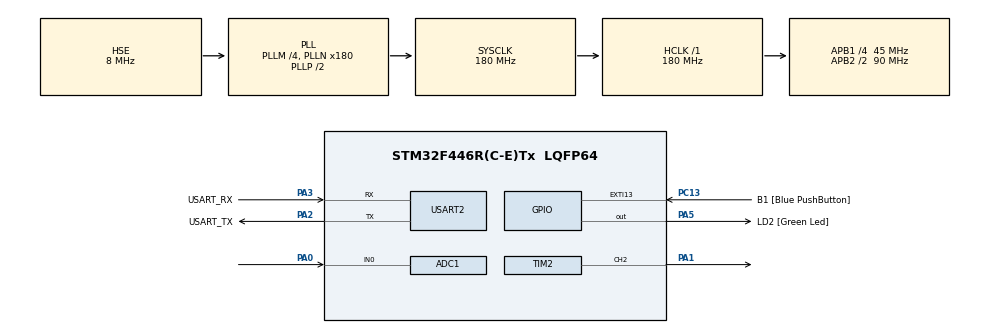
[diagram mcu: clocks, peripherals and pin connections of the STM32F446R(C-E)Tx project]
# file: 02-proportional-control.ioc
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ADC1.Channel-0\#ChannelRegularConversion=ADC_CHANNEL_0
ADC1.ClockPrescaler=ADC_CLOCK_SYNC_PCLK_DIV8
ADC1.ContinuousConvMode=ENABLE
ADC1.NbrOfConversionFlag=1
ADC1.Rank-0\#ChannelRegularConversion=1
ADC1.SamplingTime-0\#ChannelRegularConversion=ADC_SAMPLETIME_3CYCLES
ADC1.master=1
Dma.Request0=USART2_TX
Dma.USART2_TX.0.Direction=DMA_MEMORY_TO_PERIPH
Dma.USART2_TX.0.FIFOMode=DMA_FIFOMODE_DISABLE
Dma.USART2_TX.0.Instance=DMA1_Stream6
Dma.USART2_TX.0.MemDataAlignment=DMA_MDATAALIGN_BYTE
Dma.USART2_TX.0.MemInc=DMA_MINC_ENABLE
Dma.USART2_TX.0.Mode=DMA_NORMAL
Dma.USART2_TX.0.PeriphDataAlignment=DMA_PDATAALIGN_BYTE
Dma.USART2_TX.0.PeriphInc=DMA_PINC_DISABLE
Dma.USART2_TX.0.Priority=DMA_PRIORITY_LOW
Mcu.Family=STM32F4
Mcu.Name=STM32F446R(C-E)Tx
Mcu.Package=LQFP64
NVIC.DMA1_Stream6_IRQn=true\:0\:0\:false\:false\:true\:false\:true\:true
NVIC.PriorityGroup=NVIC_PRIORITYGROUP_0
NVIC.USART2_IRQn=true\:0\:0\:false\:false\:true\:true\:true\:true
PA0-WKUP.Signal=ADCx_IN0
PA1.Signal=S_TIM2_CH2
PA13.GPIO_Label=TMS
PA13.Mode=Serial_Wire
PA13.Signal=SYS_JTMS-SWDIO
PA14.GPIO_Label=TCK
PA14.Mode=Serial_Wire
PA14.Signal=SYS_JTCK-SWCLK
PA2.GPIO_Label=USART_TX
PA2.Mode=Asynchronous
PA2.Signal=USART2_TX
PA3.GPIO_Label=USART_RX
PA3.Mode=Asynchronous
PA3.Signal=USART2_RX
PA5.GPIO_Label=LD2 [Green Led]
PA5.Signal=GPIO_Output
PB3.GPIO_Label=SWO
PB3.Signal=SYS_JTDO-SWO
PC13.GPIO_Label=B1 [Blue PushButton]
PC13.GPIO_ModeDefaultEXTI=GPIO_MODE_IT_FALLING
PC13.Signal=GPXTI13
PC14-OSC32_IN.Signal=RCC_OSC32_IN
PC15-OSC32_OUT.Signal=RCC_OSC32_OUT
PH0-OSC_IN.Mode=HSE-External-Oscillator
PH0-OSC_IN.Signal=RCC_OSC_IN
PH1-OSC_OUT.Mode=HSE-External-Oscillator
PH1-OSC_OUT.Signal=RCC_OSC_OUT
ProjectManager.HeapSize=0x200
ProjectManager.StackSize=0x400
ProjectManager.TargetToolchain=CMake
RCC.AHBFreq_Value=180000000
RCC.APB1CLKDivider=RCC_HCLK_DIV4
RCC.APB1Freq_Value=45000000
RCC.APB1TimFreq_Value=90000000
RCC.APB2CLKDivider=RCC_HCLK_DIV2
RCC.APB2Freq_Value=90000000
RCC.APB2TimFreq_Value=180000000
RCC.CortexFreq_Value=180000000
RCC.FLatency-AdvancedSettings=FLASH_LATENCY_5
RCC.HCLKFreq_Value=180000000
RCC.HSE_VALUE=8000000
RCC.HSI_VALUE=16000000
RCC.LSE_VALUE=32768
RCC.PLLM=4
RCC.PLLN=180
RCC.PLLSourceVirtual=RCC_PLLSOURCE_HSE
RCC.SYSCLKFreq_VALUE=180000000
RCC.SYSCLKSource=RCC_SYSCLKSOURCE_PLLCLK
RCC.USBFreq_Value=180000000
RCC.VCOOutputFreq_Value=360000000
SH.ADCx_IN0.0=ADC1_IN0,IN0
SH.S_TIM2_CH2.0=TIM2_CH2,PWM Generation2 CH2
TIM2.Channel-PWM\ Generation2\ CH2=TIM_CHANNEL_2
TIM2.Period=100-1
TIM2.Prescaler=90-1
TIM2.Pulse-PWM\ Generation2\ CH2=50
USART2.VirtualMode=VM_ASYNC
board=NUCLEO-F446RE

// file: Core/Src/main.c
/* USER CODE BEGIN Header */
/**
  ******************************************************************************
  * @file           : main.c
  * @brief          : Main program body
  ******************************************************************************
  * @attention
  *
  * Copyright (c) 2025 STMicroelectronics.
  * All rights reserved.
  *
  * This software is licensed under terms that can be found in the LICENSE file
  * in the root directory of this software component.
  * If no LICENSE file comes with this software, it is provided AS-IS.
  *
  ******************************************************************************
  */
/* USER CODE END Header */
#include "main.h"

/* USER CODE BEGIN Includes */
#include "photocell.h"
#include "led_pwm.h"
#include "logger.h"
#include "pid.h"

/* USER CODE END Includes */

ADC_HandleTypeDef hadc1;

TIM_HandleTypeDef htim2;

UART_HandleTypeDef huart2;
DMA_HandleTypeDef hdma_usart2_tx;

volatile bool tick_1ms = false;

void SystemClock_Config(void);
static void MX_GPIO_Init(void);
static void MX_DMA_Init(void);
static void MX_ADC1_Init(void);
static void MX_TIM2_Init(void);
static void MX_USART2_UART_Init(void);

/* USER CODE BEGIN 0 */

photoCell_t photocell;

LedPwm_t led_pwm = {
    .htim = &htim2,
    .channel = TIM_CHANNEL_2,
    .duty_percent = 0
};

pid_t led_ctrl = PID_DEFAULTS;

void app_init(void)
{
    pid_init(&led_ctrl, 1.2f, 60.0f, 0.0f, 100.0f);

    Log_Init();
    Log_SetLevel(LOG_LEVEL_DEBUG);
    Log(LOG_LEVEL_INFO, "System initialized.\n");

    photoCell_init(&photocell, DEFAULT_SCALING, DEFAULT_MIN_READ, DEFAULT_MAX_READ);

    LedPwm_init(&led_pwm, &htim2, TIM_CHANNEL_2);
    LedPwm_start(&led_pwm);
}

/* USER CODE END 0 */

int main(void)
{

  /* MCU Configuration--------------------------------------------------------*/

  /* Reset of all peripherals, Initializes the Flash interface and the Systick. */
  HAL_Init();

  /* Configure the system clock */
  SystemClock_Config();

  /* Initialize all configured peripherals */
  MX_GPIO_Init();
  MX_DMA_Init();
  MX_ADC1_Init();
  MX_TIM2_Init();
  MX_USART2_UART_Init();
  /* USER CODE BEGIN 2 */
  app_init();

  uint32_t t_ms = 0;

  /* USER CODE END 2 */

  /* Infinite loop */
  while (1)
  {

    /* USER CODE BEGIN 3 */

    /* 1-kHz time-base ----------------------------------------- */
    if (!tick_1ms) continue;
    tick_1ms = false;
    t_ms++;

    /* Every 10 ms: sample sensor & update control ------------- */
    if (t_ms % 10 == 0)
    {
        float lux_pct = readSensor(&photocell);  /* 0–1 */
        float duty    = PID_COMPUTE(&led_ctrl, lux_pct);
        LedPwm_setDuty(&led_pwm, duty);
    }

    /* Optional: stream data out UART for your logger ---------- */
    // if (t_ms % 100 == 0) log_telemetry(lux_pct, duty);
  }
  /* USER CODE END 3 */
}

void SystemClock_Config(void)
{
  RCC_OscInitTypeDef RCC_OscInitStruct = {0};
  RCC_ClkInitTypeDef RCC_ClkInitStruct = {0};

  /** Configure the main internal regulator output voltage
  */
  __HAL_RCC_PWR_CLK_ENABLE();
  __HAL_PWR_VOLTAGESCALING_CONFIG(PWR_REGULATOR_VOLTAGE_SCALE1);

  /** Initializes the RCC Oscillators according to the specified parameters
  * in the RCC_OscInitTypeDef structure.
  */
  RCC_OscInitStruct.OscillatorType = RCC_OSCILLATORTYPE_HSE;
  RCC_OscInitStruct.HSEState = RCC_HSE_ON;
  RCC_OscInitStruct.PLL.PLLState = RCC_PLL_ON;
  RCC_OscInitStruct.PLL.PLLSource = RCC_PLLSOURCE_HSE;
  RCC_OscInitStruct.PLL.PLLM = 4;
  RCC_OscInitStruct.PLL.PLLN = 180;
  RCC_OscInitStruct.PLL.PLLP = RCC_PLLP_DIV2;
  RCC_OscInitStruct.PLL.PLLQ = 2;
  RCC_OscInitStruct.PLL.PLLR = 2;
  if (HAL_RCC_OscConfig(&RCC_OscInitStruct) != HAL_OK)
  {
    Error_Handler();
  }

  /** Activate the Over-Drive mode
  */
  if (HAL_PWREx_EnableOverDrive() != HAL_OK)
  {
    Error_Handler();
  }

  /** Initializes the CPU, AHB and APB buses clocks
  */
  RCC_ClkInitStruct.ClockType = RCC_CLOCKTYPE_HCLK|RCC_CLOCKTYPE_SYSCLK
                              |RCC_CLOCKTYPE_PCLK1|RCC_CLOCKTYPE_PCLK2;
  RCC_ClkInitStruct.SYSCLKSource = RCC_SYSCLKSOURCE_PLLCLK;
  RCC_ClkInitStruct.AHBCLKDivider = RCC_SYSCLK_DIV1;
  RCC_ClkInitStruct.APB1CLKDivider = RCC_HCLK_DIV4;
  RCC_ClkInitStruct.APB2CLKDivider = RCC_HCLK_DIV2;

  if (HAL_RCC_ClockConfig(&RCC_ClkInitStruct, FLASH_LATENCY_5) != HAL_OK)
  {
    Error_Handler();
  }
}

static void MX_ADC1_Init(void)
{

  ADC_ChannelConfTypeDef sConfig = {0};

  /** Configure the global features of the ADC (Clock, Resolution, Data Alignment and number of conversion)
  */
  hadc1.Instance = ADC1;
  hadc1.Init.ClockPrescaler = ADC_CLOCK_SYNC_PCLK_DIV8;
  hadc1.Init.Resolution = ADC_RESOLUTION_12B;
  hadc1.Init.ScanConvMode = DISABLE;
  hadc1.Init.ContinuousConvMode = ENABLE;
  hadc1.Init.DiscontinuousConvMode = DISABLE;
  hadc1.Init.ExternalTrigConvEdge = ADC_EXTERNALTRIGCONVEDGE_NONE;
  hadc1.Init.ExternalTrigConv = ADC_SOFTWARE_START;
  hadc1.Init.DataAlign = ADC_DATAALIGN_RIGHT;
  hadc1.Init.NbrOfConversion = 1;
  hadc1.Init.DMAContinuousRequests = DISABLE;
  hadc1.Init.EOCSelection = ADC_EOC_SINGLE_CONV;
  if (HAL_ADC_Init(&hadc1) != HAL_OK)
  {
    Error_Handler();
  }

  /** Configure for the selected ADC regular channel its corresponding rank in the sequencer and its sample time.
  */
  sConfig.Channel = ADC_CHANNEL_0;
  sConfig.Rank = 1;
  sConfig.SamplingTime = ADC_SAMPLETIME_3CYCLES;
  if (HAL_ADC_ConfigChannel(&hadc1, &sConfig) != HAL_OK)
  {
    Error_Handler();
  }

}

static void MX_TIM2_Init(void)
{

  TIM_MasterConfigTypeDef sMasterConfig = {0};
  TIM_OC_InitTypeDef sConfigOC = {0};

  htim2.Instance = TIM2;
  htim2.Init.Prescaler = 90-1;
  htim2.Init.CounterMode = TIM_COUNTERMODE_UP;
  htim2.Init.Period = 100-1;
  htim2.Init.ClockDivision = TIM_CLOCKDIVISION_DIV1;
  htim2.Init.AutoReloadPreload = TIM_AUTORELOAD_PRELOAD_DISABLE;
  if (HAL_TIM_PWM_Init(&htim2) != HAL_OK)
  {
    Error_Handler();
  }
  sMasterConfig.MasterOutputTrigger = TIM_TRGO_RESET;
  sMasterConfig.MasterSlaveMode = TIM_MASTERSLAVEMODE_DISABLE;
  if (HAL_TIMEx_MasterConfigSynchronization(&htim2, &sMasterConfig) != HAL_OK)
  {
    Error_Handler();
  }
  sConfigOC.OCMode = TIM_OCMODE_PWM1;
  sConfigOC.Pulse = 50;
  sConfigOC.OCPolarity = TIM_OCPOLARITY_HIGH;
  sConfigOC.OCFastMode = TIM_OCFAST_DISABLE;
  if (HAL_TIM_PWM_ConfigChannel(&htim2, &sConfigOC, TIM_CHANNEL_2) != HAL_OK)
  {
    Error_Handler();
  }
  HAL_TIM_MspPostInit(&htim2);

}

static void MX_USART2_UART_Init(void)
{

  huart2.Instance = USART2;
  huart2.Init.BaudRate = 115200;
  huart2.Init.WordLength = UART_WORDLENGTH_8B;
  huart2.Init.StopBits = UART_STOPBITS_1;
  huart2.Init.Parity = UART_PARITY_NONE;
  huart2.Init.Mode = UART_MODE_TX_RX;
  huart2.Init.HwFlowCtl = UART_HWCONTROL_NONE;
  huart2.Init.OverSampling = UART_OVERSAMPLING_16;
  if (HAL_UART_Init(&huart2) != HAL_OK)
  {
    Error_Handler();
  }

}

static void MX_DMA_Init(void)
{

  /* DMA controller clock enable */
  __HAL_RCC_DMA1_CLK_ENABLE();

  /* DMA interrupt init */
  /* DMA1_Stream6_IRQn interrupt configuration */
  HAL_NVIC_SetPriority(DMA1_Stream6_IRQn, 0, 0);
  HAL_NVIC_EnableIRQ(DMA1_Stream6_IRQn);

}

static void MX_GPIO_Init(void)
{
  GPIO_InitTypeDef GPIO_InitStruct = {0};

  /* GPIO Ports Clock Enable */
  __HAL_RCC_GPIOC_CLK_ENABLE();
  __HAL_RCC_GPIOH_CLK_ENABLE();
  __HAL_RCC_GPIOA_CLK_ENABLE();
  __HAL_RCC_GPIOB_CLK_ENABLE();

  /*Configure GPIO pin Output Level */
  HAL_GPIO_WritePin(LD2_GPIO_Port, LD2_Pin, GPIO_PIN_RESET);

  /*Configure GPIO pin : B1_Pin */
  GPIO_InitStruct.Pin = B1_Pin;
  GPIO_InitStruct.Mode = GPIO_MODE_IT_FALLING;
  GPIO_InitStruct.Pull = GPIO_NOPULL;
  HAL_GPIO_Init(B1_GPIO_Port, &GPIO_InitStruct);

  /*Configure GPIO pin : LD2_Pin */
  GPIO_InitStruct.Pin = LD2_Pin;
  GPIO_InitStruct.Mode = GPIO_MODE_OUTPUT_PP;
  GPIO_InitStruct.Pull = GPIO_NOPULL;
  GPIO_InitStruct.Speed = GPIO_SPEED_FREQ_LOW;
  HAL_GPIO_Init(LD2_GPIO_Port, &GPIO_InitStruct);

}

void Error_Handler(void)
{
  __disable_irq();
  while (1)
  {
  }
}
